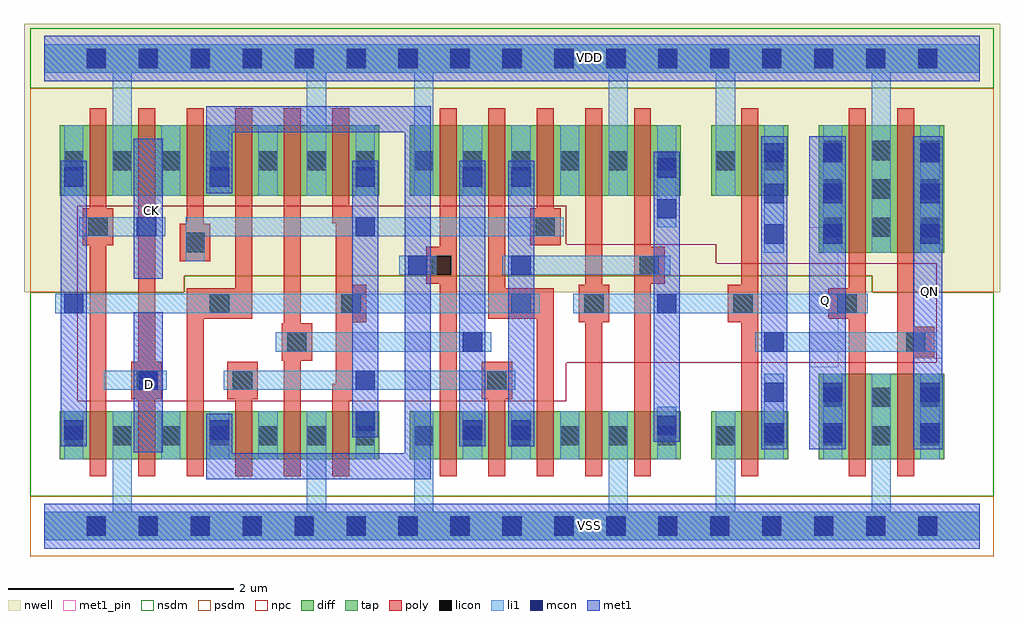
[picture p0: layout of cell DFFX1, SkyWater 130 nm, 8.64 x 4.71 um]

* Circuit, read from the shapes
.subckt DFFX1 CK D Q QN VDD VSS
XM1 VSS CK n1 VSS sky130_fd_pr__nfet_01v8 w=0.425 l=0.15
XM2 n2 D VSS VSS sky130_fd_pr__nfet_01v8 w=0.425 l=0.15
XM3 n3 n1 n2 VSS sky130_fd_pr__nfet_01v8 w=0.425 l=0.15
XM4 n4 n5 n3 VSS sky130_fd_pr__nfet_01v8 w=0.425 l=0.15
XM5 VSS n6 n4 VSS sky130_fd_pr__nfet_01v8 w=0.425 l=0.15
XM6 n5 n1 VSS VSS sky130_fd_pr__nfet_01v8 w=0.425 l=0.15
XM7 n6 n3 VSS VSS sky130_fd_pr__nfet_01v8 w=0.425 l=0.15
XM8 n7 n5 n6 VSS sky130_fd_pr__nfet_01v8 w=0.425 l=0.15
XM9 n8 n1 n7 VSS sky130_fd_pr__nfet_01v8 w=0.425 l=0.15
XM10 VSS n9 n8 VSS sky130_fd_pr__nfet_01v8 w=0.425 l=0.15
XM11 n9 n7 VSS VSS sky130_fd_pr__nfet_01v8 w=0.425 l=0.15
XM12 n10 n9 VSS VSS sky130_fd_pr__nfet_01v8 w=0.425 l=0.15
XM13 VSS n9 Q VSS sky130_fd_pr__nfet_01v8 w=0.76 l=0.15
XM14 QN n10 VSS VSS sky130_fd_pr__nfet_01v8 w=0.76 l=0.15
XM15 VDD CK n1 VDD sky130_fd_pr__pfet_01v8 w=0.625 l=0.15
XM16 n11 D VDD VDD sky130_fd_pr__pfet_01v8 w=0.625 l=0.15
XM17 n3 n5 n11 VDD sky130_fd_pr__pfet_01v8 w=0.625 l=0.15
XM18 n12 n1 n3 VDD sky130_fd_pr__pfet_01v8 w=0.625 l=0.15
XM19 VDD n6 n12 VDD sky130_fd_pr__pfet_01v8 w=0.625 l=0.15
XM20 n5 n1 VDD VDD sky130_fd_pr__pfet_01v8 w=0.625 l=0.15
XM21 n6 n3 VDD VDD sky130_fd_pr__pfet_01v8 w=0.625 l=0.15
XM22 n7 n1 n6 VDD sky130_fd_pr__pfet_01v8 w=0.625 l=0.15
XM23 n13 n5 n7 VDD sky130_fd_pr__pfet_01v8 w=0.625 l=0.15
XM24 VDD n9 n13 VDD sky130_fd_pr__pfet_01v8 w=0.625 l=0.15
XM25 n9 n7 VDD VDD sky130_fd_pr__pfet_01v8 w=0.625 l=0.15
XM26 n10 n9 VDD VDD sky130_fd_pr__pfet_01v8 w=0.625 l=0.15
XM27 VDD n9 Q VDD sky130_fd_pr__pfet_01v8 w=1.13 l=0.15
XM28 QN n10 VDD VDD sky130_fd_pr__pfet_01v8 w=1.13 l=0.15
.ends

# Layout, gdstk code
from math import pi, radians
import gdstk
lib = gdstk.Library(unit=1e-6, precision=1e-09)
def R(c, l, rs):  # rectangles x0, y0, x1, y1
    for r in rs: c.add(gdstk.rectangle(r[:2], r[2:], *l))
def A(c, l, x, y, w, h, nx, ny, dx, dy):  # array of equal rectangles
    R(c, l, [(x+i*dx, y+j*dy, x+i*dx+w, y+j*dy+h) for i in range(nx) for j in range(ny)])
def P(c, l, *ps):  # polygons
    for p in ps: c.add(gdstk.Polygon(p, *l))
nwell = (64, 20)
diff = (65, 20)
tap = (65, 44)
poly = (66, 20)
licon = (66, 44)
li1 = (67, 20)
mcon = (67, 44)
met1_pin = (68, 16)
met1 = (68, 20)
nsdm = (93, 44)
psdm = (94, 20)
npc = (95, 20)

nfet_01v8_cdns_716492285 = lib.new_cell('nfet_01v8_CDNS_716492285221')
R(nfet_01v8_cdns_716492285, diff, [(-0.265,0,0,0.425), (0,0,0.15,0.425), (0.15,0,0.415,0.425)])
R(nfet_01v8_cdns_716492285, poly, [(0,-0.15,0.15,-0.095), (0,-0.095,0.15,0), (0,0,0.15,0.425), (0,0.425,0.15,0.52), (0,0.52,0.15,0.575)])
R(nfet_01v8_cdns_716492285, licon, [(-0.225,0.125,-0.055,0.295), (0.205,0.125,0.375,0.295)])
R(nfet_01v8_cdns_716492285, li1, [(-0.225,0,-0.055,0.425), (0.205,0,0.375,0.425)])
R(nfet_01v8_cdns_716492285, nsdm, [(-0.405,-0.13,0.555,0.555)])

c_nfet_01v8_cdns_716492285 = lib.new_cell('nfet_01v8_CDNS_716492285223')
R(c_nfet_01v8_cdns_716492285, diff, [(-0.055,0,0,0.76), (0,0,0.15,0.76), (0.15,0,0.415,0.76)])
R(c_nfet_01v8_cdns_716492285, poly, [(0,-0.15,0.15,-0.095), (0,-0.095,0.15,0), (0,0,0.15,0.76), (0,0.76,0.15,0.855), (0,0.855,0.15,0.91)])
R(c_nfet_01v8_cdns_716492285, licon, [(0.205,0.125,0.375,0.295), (0.205,0.465,0.375,0.635)])
R(c_nfet_01v8_cdns_716492285, li1, [(0.205,0,0.375,0.76)])
R(c_nfet_01v8_cdns_716492285, nsdm, [(-0.065,-0.13,0.555,0.89)])

pfet_01v8_cdns_716492285 = lib.new_cell('pfet_01v8_CDNS_7164922852222')
R(pfet_01v8_cdns_716492285, nwell, [(-0.235,-0.18,0.555,0.805)])
R(pfet_01v8_cdns_716492285, diff, [(-0.055,0,0,0.625), (0,0,0.15,0.625), (0.15,0,0.375,0.625)])
R(pfet_01v8_cdns_716492285, poly, [(0,-0.15,0.15,-0.095), (0,-0.095,0.15,0), (0,0,0.15,0.625), (0,0.625,0.15,0.72), (0,0.72,0.15,0.775)])
R(pfet_01v8_cdns_716492285, licon, [(0.205,0.225,0.375,0.395)])
R(pfet_01v8_cdns_716492285, li1, [(0.205,0,0.375,0.625)])
R(pfet_01v8_cdns_716492285, psdm, [(-0.065,-0.13,0.385,0.755)])

c_pfet_01v8_cdns_716492285 = lib.new_cell('pfet_01v8_CDNS_7164922852289')
R(c_pfet_01v8_cdns_716492285, nwell, [(-0.405,-0.18,0.385,0.805)])
R(c_pfet_01v8_cdns_716492285, diff, [(-0.225,0,0,0.625), (0,0,0.15,0.625), (0.15,0,0.205,0.625)])
R(c_pfet_01v8_cdns_716492285, poly, [(0,-0.15,0.15,-0.095), (0,-0.095,0.15,0), (0,0,0.15,0.625), (0,0.625,0.15,0.72), (0,0.72,0.15,0.775)])
R(c_pfet_01v8_cdns_716492285, psdm, [(-0.235,-0.13,0.215,0.755)])

c_nfet_01v8_cdns_716492285_ = lib.new_cell('nfet_01v8_CDNS_7164922852290')
R(c_nfet_01v8_cdns_716492285_, diff, [(-0.225,0,0,0.425), (0,0,0.15,0.425), (0.15,0,0.375,0.425)])
R(c_nfet_01v8_cdns_716492285_, poly, [(0,-0.15,0.15,-0.095), (0,-0.095,0.15,0), (0,0,0.15,0.425), (0,0.425,0.15,0.52), (0,0.52,0.15,0.575)])
R(c_nfet_01v8_cdns_716492285_, licon, [(0.205,0.125,0.375,0.295)])
R(c_nfet_01v8_cdns_716492285_, li1, [(0.205,0,0.375,0.425)])
R(c_nfet_01v8_cdns_716492285_, nsdm, [(-0.235,-0.13,0.385,0.555)])

c_pfet_01v8_cdns_716492285_ = lib.new_cell('pfet_01v8_CDNS_7164922852286')
R(c_pfet_01v8_cdns_716492285_, nwell, [(-0.405,-0.18,0.555,0.805)])
R(c_pfet_01v8_cdns_716492285_, diff, [(-0.225,0,0,0.625), (0,0,0.15,0.625), (0.15,0,0.375,0.625)])
R(c_pfet_01v8_cdns_716492285_, poly, [(0,-0.15,0.15,-0.095), (0,-0.095,0.15,0), (0,0,0.15,0.625), (0,0.625,0.15,0.72), (0,0.72,0.15,0.775)])
R(c_pfet_01v8_cdns_716492285_, licon, [(0.205,0.225,0.375,0.395)])
R(c_pfet_01v8_cdns_716492285_, li1, [(0.205,0,0.375,0.625)])
R(c_pfet_01v8_cdns_716492285_, psdm, [(-0.235,-0.13,0.385,0.755)])

c_pfet_01v8_cdns_716492285__ = lib.new_cell('pfet_01v8_CDNS_716492285224')
R(c_pfet_01v8_cdns_716492285__, nwell, [(-0.235,-0.18,0.595,1.31)])
R(c_pfet_01v8_cdns_716492285__, diff, [(-0.055,0,0,1.13), (0,0,0.15,1.13), (0.15,0,0.415,1.13)])
R(c_pfet_01v8_cdns_716492285__, poly, [(0,-0.15,0.15,-0.095), (0,-0.095,0.15,0), (0,0,0.15,1.13), (0,1.13,0.15,1.225), (0,1.225,0.15,1.28)])
A(c_pfet_01v8_cdns_716492285__, licon, 0.205, 0.14, 0.17, 0.17, 1, 3, 0, 0.34)
R(c_pfet_01v8_cdns_716492285__, li1, [(0.205,0,0.375,1.13)])
R(c_pfet_01v8_cdns_716492285__, psdm, [(-0.065,-0.13,0.555,1.26)])

c_nfet_01v8_cdns_716492285__ = lib.new_cell('nfet_01v8_CDNS_7164922852250')
R(c_nfet_01v8_cdns_716492285__, diff, [(-0.225,0,0,0.425), (0,0,0.15,0.425), (0.15,0,0.205,0.425)])
R(c_nfet_01v8_cdns_716492285__, poly, [(0,-0.15,0.15,-0.095), (0,-0.095,0.15,0), (0,0,0.15,0.425), (0,0.425,0.15,0.52), (0,0.52,0.15,0.575)])
R(c_nfet_01v8_cdns_716492285__, licon, [(-0.225,0.125,-0.055,0.295)])
R(c_nfet_01v8_cdns_716492285__, li1, [(-0.225,0,-0.055,0.425)])
R(c_nfet_01v8_cdns_716492285__, nsdm, [(-0.235,-0.13,0.215,0.555)])

c_pfet_01v8_cdns_716492285___ = lib.new_cell('pfet_01v8_CDNS_7164922852248')
R(c_pfet_01v8_cdns_716492285___, nwell, [(-0.405,-0.18,0.385,0.805)])
R(c_pfet_01v8_cdns_716492285___, diff, [(-0.225,0,0,0.625), (0,0,0.15,0.625), (0.15,0,0.205,0.625)])
R(c_pfet_01v8_cdns_716492285___, poly, [(0,-0.15,0.15,-0.095), (0,-0.095,0.15,0), (0,0,0.15,0.625), (0,0.625,0.15,0.72), (0,0.72,0.15,0.775)])
R(c_pfet_01v8_cdns_716492285___, licon, [(-0.225,0.225,-0.055,0.395)])
R(c_pfet_01v8_cdns_716492285___, li1, [(-0.225,0,-0.055,0.625)])
R(c_pfet_01v8_cdns_716492285___, psdm, [(-0.235,-0.13,0.215,0.755)])

c_nfet_01v8_cdns_716492285___ = lib.new_cell('nfet_01v8_CDNS_716492285228')
R(c_nfet_01v8_cdns_716492285___, diff, [(-0.055,0,0,0.425), (0,0,0.15,0.425), (0.15,0,0.415,0.425)])
R(c_nfet_01v8_cdns_716492285___, poly, [(0,-0.15,0.15,-0.095), (0,-0.095,0.15,0), (0,0,0.15,0.425), (0,0.425,0.15,0.52), (0,0.52,0.15,0.575)])
R(c_nfet_01v8_cdns_716492285___, licon, [(0.205,0.125,0.375,0.295)])
R(c_nfet_01v8_cdns_716492285___, li1, [(0.205,0,0.375,0.425)])
R(c_nfet_01v8_cdns_716492285___, nsdm, [(-0.065,-0.13,0.555,0.555)])

c_pfet_01v8_cdns_716492285____ = lib.new_cell('pfet_01v8_CDNS_7164922852217')
R(c_pfet_01v8_cdns_716492285____, nwell, [(-0.235,-0.18,0.595,0.805)])
R(c_pfet_01v8_cdns_716492285____, diff, [(-0.055,0,0,0.625), (0,0,0.15,0.625), (0.15,0,0.415,0.625)])
R(c_pfet_01v8_cdns_716492285____, poly, [(0,-0.15,0.15,-0.095), (0,-0.095,0.15,0), (0,0,0.15,0.625), (0,0.625,0.15,0.72), (0,0.72,0.15,0.775)])
R(c_pfet_01v8_cdns_716492285____, licon, [(0.205,0.225,0.375,0.395)])
R(c_pfet_01v8_cdns_716492285____, li1, [(0.205,0,0.375,0.625)])
R(c_pfet_01v8_cdns_716492285____, psdm, [(-0.065,-0.13,0.555,0.755)])

c_nfet_01v8_cdns_716492285____ = lib.new_cell('nfet_01v8_CDNS_716492285226')
R(c_nfet_01v8_cdns_716492285____, diff, [(-0.225,0,0,0.425), (0,0,0.15,0.425), (0.15,0,0.415,0.425)])
R(c_nfet_01v8_cdns_716492285____, poly, [(0,-0.15,0.15,-0.095), (0,-0.095,0.15,0), (0,0,0.15,0.425), (0,0.425,0.15,0.52), (0,0.52,0.15,0.575)])
R(c_nfet_01v8_cdns_716492285____, licon, [(-0.225,0.125,-0.055,0.295), (0.205,0.125,0.375,0.295)])
R(c_nfet_01v8_cdns_716492285____, li1, [(-0.225,0,-0.055,0.425), (0.205,0,0.375,0.425)])
R(c_nfet_01v8_cdns_716492285____, nsdm, [(-0.235,-0.13,0.555,0.555)])

c_nfet_01v8_cdns_716492285_____ = lib.new_cell('nfet_01v8_CDNS_7164922852230')
R(c_nfet_01v8_cdns_716492285_____, diff, [(-0.055,0,0,0.425), (0,0,0.15,0.425), (0.15,0,0.375,0.425)])
R(c_nfet_01v8_cdns_716492285_____, poly, [(0,-0.15,0.15,-0.095), (0,-0.095,0.15,0), (0,0,0.15,0.425), (0,0.425,0.15,0.52), (0,0.52,0.15,0.575)])
R(c_nfet_01v8_cdns_716492285_____, licon, [(0.205,0.125,0.375,0.295)])
R(c_nfet_01v8_cdns_716492285_____, li1, [(0.205,0,0.375,0.425)])
R(c_nfet_01v8_cdns_716492285_____, nsdm, [(-0.065,-0.13,0.385,0.555)])

c_nfet_01v8_cdns_716492285______ = lib.new_cell('nfet_01v8_CDNS_7164922852224')
R(c_nfet_01v8_cdns_716492285______, diff, [(-0.225,0,0,0.425), (0,0,0.15,0.425), (0.15,0,0.205,0.425)])
R(c_nfet_01v8_cdns_716492285______, poly, [(0,-0.15,0.15,-0.095), (0,-0.095,0.15,0), (0,0,0.15,0.425), (0,0.425,0.15,0.52), (0,0.52,0.15,0.575)])
R(c_nfet_01v8_cdns_716492285______, licon, [(-0.225,0.125,-0.055,0.295)])
R(c_nfet_01v8_cdns_716492285______, li1, [(-0.225,0,-0.055,0.425)])
R(c_nfet_01v8_cdns_716492285______, nsdm, [(-0.235,-0.13,0.215,0.555)])

c_nfet_01v8_cdns_716492285_______ = lib.new_cell('nfet_01v8_CDNS_7164922852239')
R(c_nfet_01v8_cdns_716492285_______, diff, [(-0.055,0,0,0.425), (0,0,0.15,0.425), (0.15,0,0.375,0.425)])
R(c_nfet_01v8_cdns_716492285_______, poly, [(0,-0.15,0.15,-0.095), (0,-0.095,0.15,0), (0,0,0.15,0.425), (0,0.425,0.15,0.52), (0,0.52,0.15,0.575)])
R(c_nfet_01v8_cdns_716492285_______, licon, [(0.205,0.125,0.375,0.295)])
R(c_nfet_01v8_cdns_716492285_______, li1, [(0.205,0,0.375,0.425)])
R(c_nfet_01v8_cdns_716492285_______, nsdm, [(-0.065,-0.13,0.385,0.555)])

c_pfet_01v8_cdns_716492285_____ = lib.new_cell('pfet_01v8_CDNS_7164922852219')
R(c_pfet_01v8_cdns_716492285_____, nwell, [(-0.405,-0.18,0.595,0.805)])
R(c_pfet_01v8_cdns_716492285_____, diff, [(-0.225,0,0,0.625), (0,0,0.15,0.625), (0.15,0,0.415,0.625)])
R(c_pfet_01v8_cdns_716492285_____, poly, [(0,-0.15,0.15,-0.095), (0,-0.095,0.15,0), (0,0,0.15,0.625), (0,0.625,0.15,0.72), (0,0.72,0.15,0.775)])
R(c_pfet_01v8_cdns_716492285_____, licon, [(-0.225,0.225,-0.055,0.395), (0.205,0.225,0.375,0.395)])
R(c_pfet_01v8_cdns_716492285_____, li1, [(-0.225,0,-0.055,0.625), (0.205,0,0.375,0.625)])
R(c_pfet_01v8_cdns_716492285_____, psdm, [(-0.235,-0.13,0.555,0.755)])

c_nfet_01v8_cdns_716492285________ = lib.new_cell('nfet_01v8_CDNS_7164922852233')
R(c_nfet_01v8_cdns_716492285________, diff, [(-0.225,0,0,0.425), (0,0,0.15,0.425), (0.15,0,0.205,0.425)])
R(c_nfet_01v8_cdns_716492285________, poly, [(0,-0.15,0.15,-0.095), (0,-0.095,0.15,0), (0,0,0.15,0.425), (0,0.425,0.15,0.52), (0,0.52,0.15,0.575)])
R(c_nfet_01v8_cdns_716492285________, nsdm, [(-0.235,-0.13,0.215,0.555)])

c_pfet_01v8_cdns_716492285______ = lib.new_cell('pfet_01v8_CDNS_7164922852291')
R(c_pfet_01v8_cdns_716492285______, nwell, [(-0.445,-0.18,0.385,0.805)])
R(c_pfet_01v8_cdns_716492285______, diff, [(-0.265,0,0,0.625), (0,0,0.15,0.625), (0.15,0,0.205,0.625)])
R(c_pfet_01v8_cdns_716492285______, poly, [(0,-0.15,0.15,-0.095), (0,-0.095,0.15,0), (0,0,0.15,0.625), (0,0.625,0.15,0.72), (0,0.72,0.15,0.775)])
R(c_pfet_01v8_cdns_716492285______, licon, [(-0.225,0.225,-0.055,0.395)])
R(c_pfet_01v8_cdns_716492285______, li1, [(-0.225,0,-0.055,0.625)])
R(c_pfet_01v8_cdns_716492285______, psdm, [(-0.405,-0.13,0.215,0.755)])

c_nfet_01v8_cdns_716492285_________ = lib.new_cell('nfet_01v8_CDNS_716492285227')
R(c_nfet_01v8_cdns_716492285_________, diff, [(-0.225,0,0,0.76), (0,0,0.15,0.76), (0.15,0,0.415,0.76)])
R(c_nfet_01v8_cdns_716492285_________, poly, [(0,-0.15,0.15,-0.095), (0,-0.095,0.15,0), (0,0,0.15,0.76), (0,0.76,0.15,0.855), (0,0.855,0.15,0.91)])
R(c_nfet_01v8_cdns_716492285_________, licon, [(-0.225,0.125,-0.055,0.295), (0.205,0.125,0.375,0.295), (-0.225,0.465,-0.055,0.635), (0.205,0.465,0.375,0.635)])
R(c_nfet_01v8_cdns_716492285_________, li1, [(-0.225,0,-0.055,0.76), (0.205,0,0.375,0.76)])
R(c_nfet_01v8_cdns_716492285_________, nsdm, [(-0.235,-0.13,0.555,0.89)])

c_nfet_01v8_cdns_716492285__________ = lib.new_cell('nfet_01v8_CDNS_7164922852242')
R(c_nfet_01v8_cdns_716492285__________, diff, [(-0.265,0,0,0.425), (0,0,0.15,0.425), (0.15,0,0.205,0.425)])
R(c_nfet_01v8_cdns_716492285__________, poly, [(0,-0.15,0.15,-0.095), (0,-0.095,0.15,0), (0,0,0.15,0.425), (0,0.425,0.15,0.52), (0,0.52,0.15,0.575)])
R(c_nfet_01v8_cdns_716492285__________, licon, [(-0.225,0.125,-0.055,0.295)])
R(c_nfet_01v8_cdns_716492285__________, li1, [(-0.225,0,-0.055,0.425)])
R(c_nfet_01v8_cdns_716492285__________, nsdm, [(-0.405,-0.13,0.215,0.555)])

c_pfet_01v8_cdns_716492285_______ = lib.new_cell('pfet_01v8_CDNS_7164922852237')
R(c_pfet_01v8_cdns_716492285_______, nwell, [(-0.405,-0.18,0.385,0.805)])
R(c_pfet_01v8_cdns_716492285_______, diff, [(-0.225,0,0,0.625), (0,0,0.15,0.625), (0.15,0,0.205,0.625)])
R(c_pfet_01v8_cdns_716492285_______, poly, [(0,-0.15,0.15,-0.095), (0,-0.095,0.15,0), (0,0,0.15,0.625), (0,0.625,0.15,0.72), (0,0.72,0.15,0.775)])
R(c_pfet_01v8_cdns_716492285_______, licon, [(-0.225,0.225,-0.055,0.395)])
R(c_pfet_01v8_cdns_716492285_______, li1, [(-0.225,0,-0.055,0.625)])
R(c_pfet_01v8_cdns_716492285_______, psdm, [(-0.235,-0.13,0.215,0.755)])

c_pfet_01v8_cdns_716492285________ = lib.new_cell('pfet_01v8_CDNS_7164922852227')
R(c_pfet_01v8_cdns_716492285________, nwell, [(-0.235,-0.18,0.555,0.805)])
R(c_pfet_01v8_cdns_716492285________, diff, [(-0.055,0,0,0.625), (0,0,0.15,0.625), (0.15,0,0.375,0.625)])
R(c_pfet_01v8_cdns_716492285________, poly, [(0,-0.15,0.15,-0.095), (0,-0.095,0.15,0), (0,0,0.15,0.625), (0,0.625,0.15,0.72), (0,0.72,0.15,0.775)])
R(c_pfet_01v8_cdns_716492285________, psdm, [(-0.065,-0.13,0.385,0.755)])

c_pfet_01v8_cdns_716492285_________ = lib.new_cell('pfet_01v8_CDNS_7164922852213')
R(c_pfet_01v8_cdns_716492285_________, nwell, [(-0.445,-0.18,0.595,0.805)])
R(c_pfet_01v8_cdns_716492285_________, diff, [(-0.265,0,0,0.625), (0,0,0.15,0.625), (0.15,0,0.415,0.625)])
R(c_pfet_01v8_cdns_716492285_________, poly, [(0,-0.15,0.15,-0.095), (0,-0.095,0.15,0), (0,0,0.15,0.625), (0,0.625,0.15,0.72), (0,0.72,0.15,0.775)])
R(c_pfet_01v8_cdns_716492285_________, licon, [(-0.225,0.225,-0.055,0.395), (0.205,0.225,0.375,0.395)])
R(c_pfet_01v8_cdns_716492285_________, li1, [(-0.225,0,-0.055,0.625), (0.205,0,0.375,0.625)])
R(c_pfet_01v8_cdns_716492285_________, psdm, [(-0.405,-0.13,0.555,0.755)])

c_pfet_01v8_cdns_716492285__________ = lib.new_cell('pfet_01v8_CDNS_7164922852212')
R(c_pfet_01v8_cdns_716492285__________, nwell, [(-0.405,-0.18,0.595,1.31)])
R(c_pfet_01v8_cdns_716492285__________, diff, [(-0.225,0,0,1.13), (0,0,0.15,1.13), (0.15,0,0.415,1.13)])
R(c_pfet_01v8_cdns_716492285__________, poly, [(0,-0.15,0.15,-0.095), (0,-0.095,0.15,0), (0,0,0.15,1.13), (0,1.13,0.15,1.225), (0,1.225,0.15,1.28)])
A(c_pfet_01v8_cdns_716492285__________, licon, -0.225, 0.14, 0.17, 0.17, 1, 3, 0, 0.34)
A(c_pfet_01v8_cdns_716492285__________, licon, 0.205, 0.14, 0.17, 0.17, 1, 3, 0, 0.34)
R(c_pfet_01v8_cdns_716492285__________, li1, [(-0.225,0,-0.055,1.13), (0.205,0,0.375,1.13)])
R(c_pfet_01v8_cdns_716492285__________, psdm, [(-0.235,-0.13,0.555,1.26)])

licondiff_c_cdns_7164922 = lib.new_cell('LICONDIFF_C_CDNS_7164922852213')
R(licondiff_c_cdns_7164922, diff, [(-0.125,-0.145,0.125,0.145)])
R(licondiff_c_cdns_7164922, licon, [(-0.085,-0.085,0.085,0.085), (-0.085,-0.085,0.085,0.085)])

pyl1con_c_cdns_716492285 = lib.new_cell('PYL1CON_C_CDNS_716492285220')
R(pyl1con_c_cdns_716492285, poly, [(-0.135,-0.165,0.135,0.165)])
R(pyl1con_c_cdns_716492285, licon, [(-0.085,-0.085,0.085,0.085)])
R(pyl1con_c_cdns_716492285, npc, [(-0.185,-0.185,0.185,0.185)])

c_pyl1con_c_cdns_716492285 = lib.new_cell('PYL1CON_C_CDNS_716492285221')
R(c_pyl1con_c_cdns_716492285, poly, [(-0.135,-0.29,0.135,0.29)])
R(c_pyl1con_c_cdns_716492285, licon, [(-0.085,-0.085,0.085,0.085)])
R(c_pyl1con_c_cdns_716492285, npc, [(-0.185,-0.185,0.185,0.185)])

l1m1_c_cdns_716492285228 = lib.new_cell('L1M1_C_CDNS_716492285228')
R(l1m1_c_cdns_716492285228, li1, [(-0.085,-0.085,0.085,0.085)])
R(l1m1_c_cdns_716492285228, mcon, [(-0.085,-0.085,0.085,0.085)])
R(l1m1_c_cdns_716492285228, met1, [(-0.115,-0.145,0.115,0.145)])

l1m1_c_cdns_716492285222 = lib.new_cell('L1M1_C_CDNS_716492285222')
R(l1m1_c_cdns_716492285222, li1, [(-0.085,-0.165,0.085,0.165)])
R(l1m1_c_cdns_716492285222, mcon, [(-0.085,-0.085,0.085,0.085)])
R(l1m1_c_cdns_716492285222, met1, [(-0.115,-0.145,0.115,0.145)])

l1m1_c_cdns_716492285223 = lib.new_cell('L1M1_C_CDNS_716492285223')
R(l1m1_c_cdns_716492285223, li1, [(-0.165,-0.085,0.165,0.085)])
R(l1m1_c_cdns_716492285223, mcon, [(-0.085,-0.085,0.085,0.085)])
R(l1m1_c_cdns_716492285223, met1, [(-0.115,-0.145,0.115,0.145)])

l1m1_c_cdns_716492285224 = lib.new_cell('L1M1_C_CDNS_716492285224')
R(l1m1_c_cdns_716492285224, li1, [(-0.085,-0.525,0.085,0.525)])
A(l1m1_c_cdns_716492285224, mcon, -0.085, -0.445, 0.17, 0.17, 1, 3, 0, 0.36)
R(l1m1_c_cdns_716492285224, met1, [(-0.115,-0.505,0.115,0.505)])

l1m1_c_cdns_716492285225 = lib.new_cell('L1M1_C_CDNS_716492285225')
R(l1m1_c_cdns_716492285225, li1, [(-0.085,-0.345,0.085,0.345)])
R(l1m1_c_cdns_716492285225, mcon, [(-0.085,-0.265,0.085,-0.095), (-0.085,0.095,0.085,0.265)])
R(l1m1_c_cdns_716492285225, met1, [(-0.115,-0.325,0.115,0.325)])

dffx1 = lib.new_cell('DFFX1')
R(dffx1, nwell, [(-0.18,2.07,8.46,4.445), (-0.18,3.875,8.46,4.445)])
A(dffx1, licon, 0.375, -0.085, 0.17, 0.17, 17, 2, 0.46, 4.14)
R(dffx1, li1, [(1.25,2.345,1.42,2.735)])
A(dffx1, mcon, 0.375, -0.085, 0.17, 0.17, 17, 2, 0.46, 4.14)
R(dffx1, met1_pin, [(0.79,0.655,1.05,1.895), (6.77,1.405,7.03,2.645), (7.69,1.48,7.95,2.72), (0.79,2.19,1.05,3.43)])
R(dffx1, met1, [(6.77,0.68,7.095,3.45)])
R(dffx1, nsdm, [(-0.125,3.875,8.405,4.405), (-0.125,3.93,8.405,4.35)])
P(dffx1, nsdm, [(8.405,2.07),(7.33,2.07),(7.33,2.215),(1.24,2.215),(1.24,2.07),(-0.125,2.07),(-0.125,0.265),(8.405,0.265)])
R(dffx1, psdm, [(-0.125,-0.265,8.405,0.265), (-0.125,-0.21,8.405,0.21)])
P(dffx1, psdm, [(8.405,3.875),(-0.125,3.875),(-0.125,2.07),(1.24,2.07),(1.24,2.215),(7.33,2.215),(7.33,2.07),(8.405,2.07)])
P(dffx1, npc, [(7.9,2.325),(5.95,2.325),(5.95,2.495),(4.62,2.495),(4.62,2.835),(0.29,2.835),(0.29,1.105),(4.62,1.105),(4.62,1.445),(7.9,1.445)])
dffx1.add(gdstk.FlexPath([(1.765,1.97),(1.765,2.83)], 0.15, ends=(0.075, 0), simple_path=True, layer=66, datatype=20))  # poly
dffx1.add(gdstk.FlexPath([(1.765,1.97),(1.335,1.97)], 0.15, ends="extended", simple_path=True, layer=66, datatype=20))  # poly
dffx1.add(gdstk.FlexPath([(1.335,1.97),(1.335,1.11)], 0.15, ends=(0.075, 0), simple_path=True, layer=66, datatype=20))  # poly
dffx1.add(gdstk.FlexPath([(2.55,1.185),(2.655,1.185)], 0.15, ends=(0, 0.075), simple_path=True, layer=66, datatype=20))  # poly
dffx1.add(gdstk.FlexPath([(4.865,1.11),(4.865,2.83)], 0.15, ends="flush", simple_path=True, layer=66, datatype=20))  # poly
dffx1.add(gdstk.FlexPath([(0.905,1.11),(0.905,2.83)], 0.15, ends="flush", simple_path=True, layer=66, datatype=20))  # poly
dffx1.add(gdstk.FlexPath([(3.575,1.11),(3.575,2.83)], 0.15, ends="flush", simple_path=True, layer=66, datatype=20))  # poly
dffx1.add(gdstk.FlexPath([(0.475,2.83),(0.475,1.11)], 0.15, ends="flush", simple_path=True, layer=66, datatype=20))  # poly
dffx1.add(gdstk.FlexPath([(2.655,2.755),(2.55,2.755)], 0.15, ends=(0.075, 0), simple_path=True, layer=66, datatype=20))  # poly
dffx1.add(gdstk.FlexPath([(1.335,2.775),(1.335,2.51)], 0.15, ends="flush", simple_path=True, layer=66, datatype=20))  # poly
dffx1.add(gdstk.FlexPath([(4.005,1.97),(4.005,2.83)], 0.15, ends=(0.075, 0), simple_path=True, layer=66, datatype=20))  # poly
dffx1.add(gdstk.FlexPath([(4.005,1.97),(4.435,1.97)], 0.15, ends="extended", simple_path=True, layer=66, datatype=20))  # poly
dffx1.add(gdstk.FlexPath([(4.435,1.97),(4.435,1.11)], 0.15, ends=(0.075, 0), simple_path=True, layer=66, datatype=20))  # poly
dffx1.add(gdstk.FlexPath([(2.655,1.185),(2.655,2.755)], 0.15, ends="extended", simple_path=True, layer=66, datatype=20))  # poly
dffx1.add(gdstk.FlexPath([(2.195,2.83),(2.195,1.11)], 0.15, ends="flush", simple_path=True, layer=66, datatype=20))  # poly
dffx1.add(gdstk.FlexPath([(5.295,2.775),(5.295,1.165)], 0.15, ends="flush", simple_path=True, layer=66, datatype=20))  # poly
dffx1.add(gdstk.FlexPath([(7.625,1.445),(7.625,2.325)], 0.15, ends="flush", simple_path=True, layer=66, datatype=20))  # poly
dffx1.add(gdstk.FlexPath([(7.195,1.445),(7.195,2.325)], 0.15, ends="flush", simple_path=True, layer=66, datatype=20))  # poly
dffx1.add(gdstk.FlexPath([(6.245,1.165),(6.245,2.775)], 0.15, ends="flush", simple_path=True, layer=66, datatype=20))  # poly
dffx1.add(gdstk.FlexPath([(1.25,2.65),(4.6,2.65)], 0.17, ends="flush", simple_path=True, layer=67, datatype=20))  # li1
dffx1.add(gdstk.FlexPath([(3.36,2.925),(3.36,4.14)], 0.17, ends=(0, 0.125), simple_path=True, layer=67, datatype=20))  # li1
dffx1.add(gdstk.FlexPath([(0,4.14),(8.28,4.14)], 0.25, ends="flush", simple_path=True, layer=67, datatype=20))  # li1
dffx1.add(gdstk.FlexPath([(3.36,1.015),(3.36,0)], 0.17, ends=(0, 0.125), simple_path=True, layer=67, datatype=20))  # li1
dffx1.add(gdstk.FlexPath([(1.12,0.59),(1.12,1.015)], 0.17, ends="flush", simple_path=True, layer=67, datatype=20))  # li1
dffx1.add(gdstk.FlexPath([(5.08,2.925),(5.08,4.14)], 0.17, ends=(0, 0.125), simple_path=True, layer=67, datatype=20))  # li1
dffx1.add(gdstk.FlexPath([(1.12,2.925),(1.12,3.55)], 0.17, ends="flush", simple_path=True, layer=67, datatype=20))  # li1
dffx1.add(gdstk.FlexPath([(2.41,1.015),(2.41,0)], 0.17, ends=(0, 0.125), simple_path=True, layer=67, datatype=20))  # li1
dffx1.add(gdstk.FlexPath([(3.955,1.63),(2.05,1.63)], 0.17, ends="flush", simple_path=True, layer=67, datatype=20))  # li1
dffx1.add(gdstk.FlexPath([(1.59,1.29),(4.17,1.29)], 0.17, ends="flush", simple_path=True, layer=67, datatype=20))  # li1
dffx1.add(gdstk.FlexPath([(0,0),(8.28,0)], 0.25, ends="flush", simple_path=True, layer=67, datatype=20))  # li1
dffx1.add(gdstk.FlexPath([(0.095,1.97),(4.385,1.97)], 0.17, ends="flush", simple_path=True, layer=67, datatype=20))  # li1
dffx1.add(gdstk.FlexPath([(1.98,0.59),(1.98,1.015)], 0.17, ends="flush", simple_path=True, layer=67, datatype=20))  # li1
dffx1.add(gdstk.FlexPath([(2.41,2.925),(2.41,4.14)], 0.17, ends=(0, 0.125), simple_path=True, layer=67, datatype=20))  # li1
dffx1.add(gdstk.FlexPath([(4.65,2.925),(4.65,3.55)], 0.17, ends="flush", simple_path=True, layer=67, datatype=20))  # li1
dffx1.add(gdstk.FlexPath([(0.525,1.29),(1.07,1.29)], 0.17, ends="flush", simple_path=True, layer=67, datatype=20))  # li1
dffx1.add(gdstk.FlexPath([(0.31,2.65),(0.855,2.65)], 0.17, ends="flush", simple_path=True, layer=67, datatype=20))  # li1
dffx1.add(gdstk.FlexPath([(5.08,1.015),(5.08,0)], 0.17, ends=(0, 0.125), simple_path=True, layer=67, datatype=20))  # li1
dffx1.add(gdstk.FlexPath([(0.69,1.015),(0.69,0)], 0.17, ends=(0, 0.125), simple_path=True, layer=67, datatype=20))  # li1
dffx1.add(gdstk.FlexPath([(0.69,2.925),(0.69,4.14)], 0.17, ends=(0, 0.125), simple_path=True, layer=67, datatype=20))  # li1
dffx1.add(gdstk.FlexPath([(4.68,1.97),(7.29,1.97)], 0.17, ends="flush", simple_path=True, layer=67, datatype=20))  # li1
dffx1.add(gdstk.FlexPath([(1.98,2.925),(1.98,3.55)], 0.17, ends="flush", simple_path=True, layer=67, datatype=20))  # li1
dffx1.add(gdstk.FlexPath([(4.055,2.31),(5.54,2.31)], 0.17, ends="flush", simple_path=True, layer=67, datatype=20))  # li1
dffx1.add(gdstk.FlexPath([(6.295,1.63),(7.9,1.63)], 0.17, ends="flush", simple_path=True, layer=67, datatype=20))  # li1
dffx1.add(gdstk.FlexPath([(6.03,2.925),(6.03,4.14)], 0.17, ends=(0, 0.125), simple_path=True, layer=67, datatype=20))  # li1
dffx1.add(gdstk.FlexPath([(7.41,2.925),(7.41,4.14)], 0.17, ends=(0, 0.125), simple_path=True, layer=67, datatype=20))  # li1
dffx1.add(gdstk.FlexPath([(6.03,1.015),(6.03,0)], 0.17, ends=(0, 0.125), simple_path=True, layer=67, datatype=20))  # li1
dffx1.add(gdstk.FlexPath([(7.41,1.015),(7.41,0)], 0.17, ends=(0, 0.125), simple_path=True, layer=67, datatype=20))  # li1
dffx1.add(gdstk.FlexPath([(0,4.14),(8.28,4.14)], 0.25, ends="flush", simple_path=True, layer=65, datatype=44))  # tap
dffx1.add(gdstk.FlexPath([(0,0),(8.28,0)], 0.25, ends="flush", simple_path=True, layer=65, datatype=44))  # tap
dffx1.add(gdstk.FlexPath([(3.305,3.6),(3.305,0.53)], 0.23, ends="extended", simple_path=True, layer=68, datatype=20))  # met1
dffx1.add(gdstk.FlexPath([(3.305,0.53),(1.55,0.53)], 0.23, ends="extended", simple_path=True, layer=68, datatype=20))  # met1
dffx1.add(gdstk.FlexPath([(4.22,0.705),(4.22,3.235)], 0.23, ends="flush", simple_path=True, layer=68, datatype=20))  # met1
dffx1.add(gdstk.FlexPath([(1.55,0.53),(1.55,0.85)], 0.23, ends=(0.115, 0), simple_path=True, layer=68, datatype=20))  # met1
dffx1.add(gdstk.FlexPath([(2.84,0.785),(2.84,3.235)], 0.23, ends="flush", simple_path=True, layer=68, datatype=20))  # met1
dffx1.add(gdstk.FlexPath([(1.55,3.6),(3.305,3.6)], 0.23, ends="extended", simple_path=True, layer=68, datatype=20))  # met1
dffx1.add(gdstk.FlexPath([(0,4.14),(8.28,4.14)], 0.4, ends="flush", simple_path=True, layer=68, datatype=20))  # met1
dffx1.add(gdstk.FlexPath([(3.79,0.705),(3.79,3.235)], 0.23, ends="flush", simple_path=True, layer=68, datatype=20))  # met1
dffx1.add(gdstk.FlexPath([(0.92,0.655),(0.92,1.895)], 0.26, ends="flush", simple_path=True, layer=68, datatype=20))  # met1
dffx1.add(gdstk.FlexPath([(0.26,0.705),(0.26,3.235)], 0.23, ends="flush", simple_path=True, layer=68, datatype=20))  # met1
dffx1.add(gdstk.FlexPath([(5.51,0.745),(5.51,3.315)], 0.23, ends="flush", simple_path=True, layer=68, datatype=20))  # met1
dffx1.add(gdstk.FlexPath([(1.55,3.09),(1.55,3.6)], 0.23, ends=(0, 0.115), simple_path=True, layer=68, datatype=20))  # met1
dffx1.add(gdstk.FlexPath([(0.92,2.19),(0.92,3.43)], 0.26, ends="flush", simple_path=True, layer=68, datatype=20))  # met1
dffx1.add(gdstk.FlexPath([(6.9,0.68),(6.9,3.45)], 0.26, ends="flush", simple_path=True, layer=68, datatype=20))  # met1
dffx1.add(gdstk.FlexPath([(7.82,0.68),(7.82,3.45)], 0.26, ends="flush", simple_path=True, layer=68, datatype=20))  # met1
dffx1.add(gdstk.FlexPath([(6.46,0.68),(6.46,3.45)], 0.23, ends="flush", simple_path=True, layer=68, datatype=20))  # met1
dffx1.add(gdstk.FlexPath([(0,0),(8.28,0)], 0.4, ends="flush", simple_path=True, layer=68, datatype=20))  # met1
dffx1.add(gdstk.FlexPath([(0,4.14),(8.28,4.14)], 0.4, ends="flush", simple_path=True, layer=68, datatype=16))  # met1_pin
dffx1.add(gdstk.FlexPath([(0,0),(8.28,0)], 0.4, ends="flush", simple_path=True, layer=68, datatype=16))  # met1_pin
dffx1.add(gdstk.Reference(nfet_01v8_cdns_716492285, (6.17,0.59)))
dffx1.add(gdstk.Reference(c_nfet_01v8_cdns_716492285, (7.55,0.59)))
dffx1.add(gdstk.Reference(pfet_01v8_cdns_716492285, (4.51,2.925), rotation=pi, x_reflection=True))
dffx1.add(gdstk.Reference(c_pfet_01v8_cdns_716492285, (1.84,2.925), rotation=pi, x_reflection=True))
dffx1.add(gdstk.Reference(c_nfet_01v8_cdns_716492285_, (1.26,0.59)))
dffx1.add(gdstk.Reference(c_pfet_01v8_cdns_716492285_, (1.26,2.925)))
dffx1.add(gdstk.Reference(c_pfet_01v8_cdns_716492285__, (7.55,2.42)))
dffx1.add(gdstk.Reference(c_nfet_01v8_cdns_716492285__, (2.27,0.59), rotation=pi, x_reflection=True))
dffx1.add(gdstk.Reference(c_nfet_01v8_cdns_716492285__, (0.83,0.59)))
dffx1.add(gdstk.Reference(c_pfet_01v8_cdns_716492285___, (2.27,2.925), rotation=pi, x_reflection=True))
dffx1.add(gdstk.Reference(c_pfet_01v8_cdns_716492285___, (0.83,2.925)))
dffx1.add(gdstk.Reference(c_nfet_01v8_cdns_716492285___, (2.55,0.59)))
dffx1.add(gdstk.Reference(c_nfet_01v8_cdns_716492285___, (0.55,0.59), rotation=pi, x_reflection=True))
dffx1.add(gdstk.Reference(c_pfet_01v8_cdns_716492285____, (2.55,2.925)))
dffx1.add(gdstk.Reference(c_pfet_01v8_cdns_716492285____, (0.55,2.925), rotation=pi, x_reflection=True))
dffx1.add(gdstk.Reference(c_nfet_01v8_cdns_716492285____, (5.22,0.59)))
dffx1.add(gdstk.Reference(c_nfet_01v8_cdns_716492285_____, (4.51,0.59), rotation=pi, x_reflection=True))
dffx1.add(gdstk.Reference(c_nfet_01v8_cdns_716492285______, (3.93,0.59)))
dffx1.add(gdstk.Reference(c_nfet_01v8_cdns_716492285_______, (4.94,0.59), rotation=pi, x_reflection=True))
dffx1.add(gdstk.Reference(c_pfet_01v8_cdns_716492285_____, (5.22,2.925)))
dffx1.add(gdstk.Reference(c_nfet_01v8_cdns_716492285________, (1.84,0.59), rotation=pi, x_reflection=True))
dffx1.add(gdstk.Reference(c_pfet_01v8_cdns_716492285______, (3.5,2.925)))
dffx1.add(gdstk.Reference(c_nfet_01v8_cdns_716492285_________, (7.27,0.59), rotation=pi, x_reflection=True))
dffx1.add(gdstk.Reference(c_nfet_01v8_cdns_716492285__________, (3.5,0.59)))
dffx1.add(gdstk.Reference(c_pfet_01v8_cdns_716492285_______, (3.93,2.925)))
dffx1.add(gdstk.Reference(c_pfet_01v8_cdns_716492285________, (4.94,2.925), rotation=pi, x_reflection=True))
dffx1.add(gdstk.Reference(c_pfet_01v8_cdns_716492285_________, (6.17,2.925)))
dffx1.add(gdstk.Reference(c_pfet_01v8_cdns_716492285__________, (7.27,2.42), rotation=pi, x_reflection=True))
dffx1.add(gdstk.Reference(licondiff_c_cdns_7164922, (4.65,3.235)))
dffx1.add(gdstk.Reference(licondiff_c_cdns_7164922, (1.98,3.235)))
dffx1.add(gdstk.Reference(licondiff_c_cdns_7164922, (1.12,3.235)))
dffx1.add(gdstk.Reference(licondiff_c_cdns_7164922, (1.98,0.8)))
dffx1.add(gdstk.Reference(licondiff_c_cdns_7164922, (1.12,0.8)))
dffx1.add(gdstk.Reference(pyl1con_c_cdns_716492285, (6.185,1.97), x_reflection=True))
dffx1.add(gdstk.Reference(pyl1con_c_cdns_716492285, (4.865,1.97), x_reflection=True))
dffx1.add(gdstk.Reference(pyl1con_c_cdns_716492285, (5.355,2.31), rotation=pi, x_reflection=True))
dffx1.add(gdstk.Reference(pyl1con_c_cdns_716492285, (2.715,1.97)))
dffx1.add(gdstk.Reference(pyl1con_c_cdns_716492285, (1.755,1.29), x_reflection=True))
dffx1.add(gdstk.Reference(pyl1con_c_cdns_716492285, (7.715,1.63), rotation=pi/2, x_reflection=True))
dffx1.add(gdstk.Reference(pyl1con_c_cdns_716492285, (4.435,2.65), rotation=pi))
dffx1.add(gdstk.Reference(pyl1con_c_cdns_716492285, (7.105,1.97), rotation=pi/2, x_reflection=True))
dffx1.add(gdstk.Reference(pyl1con_c_cdns_716492285, (1.335,2.51), rotation=pi))
dffx1.add(gdstk.Reference(pyl1con_c_cdns_716492285, (0.905,1.29), x_reflection=True))
dffx1.add(gdstk.Reference(pyl1con_c_cdns_716492285, (4.005,1.29), x_reflection=True))
dffx1.add(gdstk.Reference(pyl1con_c_cdns_716492285, (0.475,2.65), rotation=pi))
dffx1.add(gdstk.Reference(pyl1con_c_cdns_716492285, (3.515,2.31), x_reflection=True))
dffx1.add(gdstk.Reference(pyl1con_c_cdns_716492285, (2.235,1.63), rotation=pi))
dffx1.add(gdstk.Reference(c_pyl1con_c_cdns_716492285, (1.55,1.97), rotation=pi/2, x_reflection=True))
dffx1.add(gdstk.Reference(c_pyl1con_c_cdns_716492285, (4.22,1.97), rotation=pi/2))
dffx1.add(gdstk.Reference(l1m1_c_cdns_716492285228, (2.84,0.93), rotation=pi, x_reflection=True))
dffx1.add(gdstk.Reference(l1m1_c_cdns_716492285222, (1.55,3.09), rotation=pi, x_reflection=True))
dffx1.add(gdstk.Reference(l1m1_c_cdns_716492285222, (1.55,0.85), rotation=pi, x_reflection=True))
dffx1.add(gdstk.Reference(l1m1_c_cdns_716492285222, (3.79,0.85), rotation=pi, x_reflection=True))
dffx1.add(gdstk.Reference(l1m1_c_cdns_716492285222, (3.79,3.09), rotation=pi, x_reflection=True))
dffx1.add(gdstk.Reference(l1m1_c_cdns_716492285222, (4.22,0.85), rotation=pi, x_reflection=True))
dffx1.add(gdstk.Reference(l1m1_c_cdns_716492285222, (4.22,3.09), rotation=pi, x_reflection=True))
dffx1.add(gdstk.Reference(l1m1_c_cdns_716492285222, (0.26,0.85), rotation=pi, x_reflection=True))
dffx1.add(gdstk.Reference(l1m1_c_cdns_716492285222, (0.26,3.09), rotation=pi, x_reflection=True))
dffx1.add(gdstk.Reference(l1m1_c_cdns_716492285222, (5.51,0.89), rotation=pi, x_reflection=True))
dffx1.add(gdstk.Reference(l1m1_c_cdns_716492285222, (2.84,3.09), rotation=pi, x_reflection=True))
dffx1.add(gdstk.Reference(l1m1_c_cdns_716492285223, (2.84,2.65)))
dffx1.add(gdstk.Reference(l1m1_c_cdns_716492285223, (3.79,1.63)))
dffx1.add(gdstk.Reference(l1m1_c_cdns_716492285223, (4.22,2.31)))
dffx1.add(gdstk.Reference(l1m1_c_cdns_716492285223, (0.92,1.29), x_reflection=True))
dffx1.add(gdstk.Reference(l1m1_c_cdns_716492285223, (2.84,1.29)))
dffx1.add(gdstk.Reference(l1m1_c_cdns_716492285223, (0.905,2.65), x_reflection=True))
dffx1.add(gdstk.Reference(l1m1_c_cdns_716492285223, (0.26,1.97), rotation=pi, x_reflection=True))
dffx1.add(gdstk.Reference(l1m1_c_cdns_716492285223, (3.305,2.31)))
dffx1.add(gdstk.Reference(l1m1_c_cdns_716492285223, (6.46,1.63), x_reflection=True))
dffx1.add(gdstk.Reference(l1m1_c_cdns_716492285223, (5.51,1.97), rotation=pi, x_reflection=True))
dffx1.add(gdstk.Reference(l1m1_c_cdns_716492285224, (6.98,2.945)))
dffx1.add(gdstk.Reference(l1m1_c_cdns_716492285224, (7.84,2.945)))
dffx1.add(gdstk.Reference(l1m1_c_cdns_716492285224, (6.46,2.945)))
dffx1.add(gdstk.Reference(l1m1_c_cdns_716492285225, (5.51,2.99), rotation=pi, x_reflection=True))
dffx1.add(gdstk.Reference(l1m1_c_cdns_716492285225, (6.98,1.005)))
dffx1.add(gdstk.Reference(l1m1_c_cdns_716492285225, (7.84,1.005)))
dffx1.add(gdstk.Reference(l1m1_c_cdns_716492285225, (6.46,1.005)))
dffx1.add(gdstk.Label('VDD', (4.825,4.145), layer=68, texttype=5))
dffx1.add(gdstk.Label('CK', (0.945,2.795), layer=68, texttype=5))
dffx1.add(gdstk.Label('Q', (6.915,2), layer=68, texttype=5))
dffx1.add(gdstk.Label('QN', (7.835,2.075), layer=68, texttype=5))
dffx1.add(gdstk.Label('VSS', (4.825,0.005), layer=68, texttype=5))
dffx1.add(gdstk.Label('D', (0.935,1.25), layer=68, texttype=5))

lib.write_gds('DFFX1.gds')
